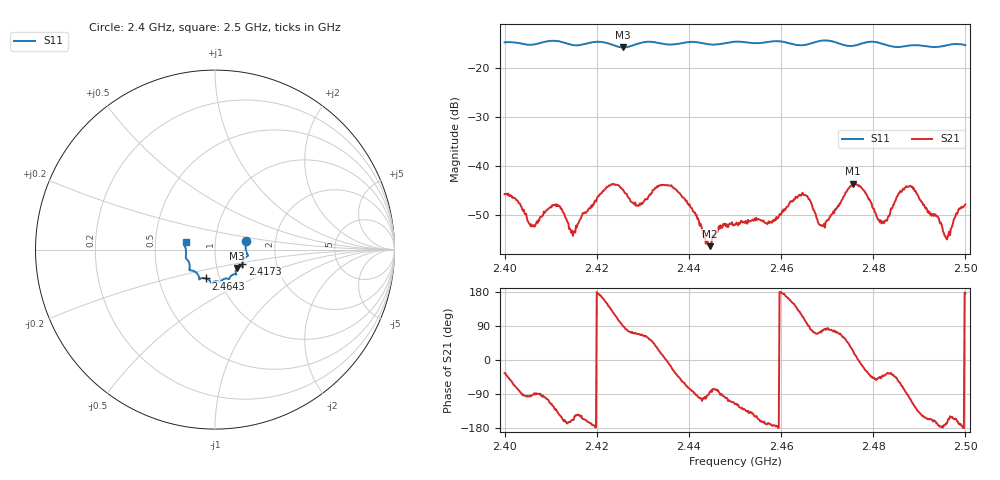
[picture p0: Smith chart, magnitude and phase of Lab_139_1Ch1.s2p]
# Hz S RI R 50
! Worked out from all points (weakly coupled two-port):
!   601 points, 2.4 GHz to 2.5 GHz, reference 50 ohm
!   highest |S21| = -43.58 dB at 2.4755 GHz (marker M1); lowest = -56.2 dB at 2.4445 GHz (marker M2)
!   lowest |S11| = -15.9 dB at 2.4257 GHz (marker M3), VSWR 1.38, Z = 62.5 - j13.1 ohm
!   |S11| at or under -10 dB: start of sweep to end of sweep
!   S12 and S22 are empty: the file has one direction only
!   S11 on the Smith chart (normalised r, x): 2.4 GHz: 1.41, +0.14; 2.4173 GHz: 1.34, -0.23; 2.4643 GHz: 0.86, -0.28; 2.5 GHz: 0.72, +0.06
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2.4e9  0.1733 0.0495  0.00428 -0.00296  0 0  0 0
2.406e9  0.1706 0.00119  -0.000103 -0.00247  0 0  0 0
2.410833e9  0.1837 -0.0341  -0.00253 -0.00315  0 0  0 0
2.414833e9  0.1603 -0.0541  -0.00183 -0.000715  0 0  0 0
2.416667e9  0.153 -0.0744  -0.00257 -0.00168  0 0  0 0
2.417333e9  0.1523 -0.0818  -0.00312 -0.00134  0 0  0 0
2.422667e9  0.1474 -0.0937  -0.00499 0.00397  0 0  0 0
2.425667e9  0.1229 -0.1022  4.24e-05 0.00579  0 0  0 0
2.429e9  0.116 -0.1312  0.00141 0.00369  0 0  0 0
2.433333e9  0.113 -0.1371  0.00547 0.00292  0 0  0 0
2.437833e9  0.0835 -0.1532  0.00374 -0.00385  0 0  0 0
2.4445e9  0.0597 -0.161  0.000141 -0.00154  0 0  0 0
2.45e9  0.0294 -0.1806  -0.00113 -0.00227  0 0  0 0
2.458e9  -0.0185 -0.183  -0.00264 -0.000354  0 0  0 0
2.464333e9  -0.0499 -0.1606  -0.0026 0.0043  0 0  0 0
2.466667e9  -0.0759 -0.1597  0.000804 0.004  0 0  0 0
2.469e9  -0.0875 -0.1663  0.000592 0.0024  0 0  0 0
2.4755e9  -0.1113 -0.1229  0.00592 0.00296  0 0  0 0
2.483333e9  -0.1406 -0.0898  0.00255 -0.00181  0 0  0 0
2.488e9  -0.1598 -0.0508  -0.00138 -0.00618  0 0  0 0
2.495833e9  -0.1668 0.0179  -0.0018 -0.000412  0 0  0 0
2.5e9  -0.1635 0.042  -0.00408 0.000309  0 0  0 0
